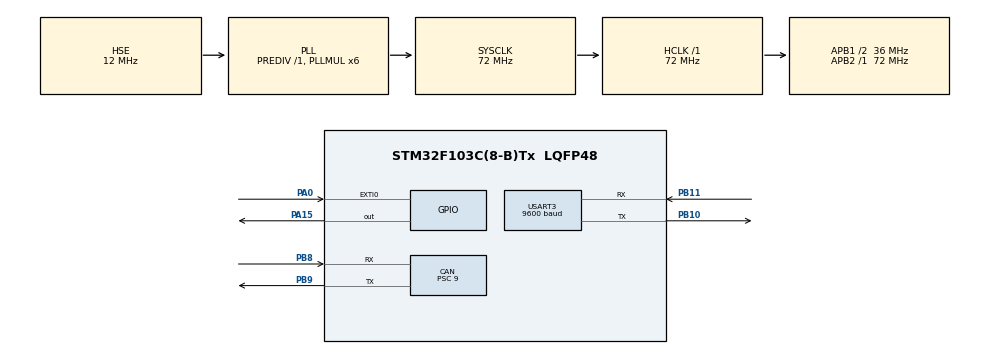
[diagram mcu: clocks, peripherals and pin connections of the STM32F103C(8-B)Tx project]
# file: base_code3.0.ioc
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CAN.BS1=CAN_BS1_2TQ
CAN.CalculateBaudRate=1000000
CAN.CalculateTimeBit=1000
CAN.CalculateTimeQuantum=250.0
CAN.Prescaler=9
Dma.Request0=USART3_RX
Dma.Request1=USART3_TX
Dma.USART3_RX.0.Direction=DMA_PERIPH_TO_MEMORY
Dma.USART3_RX.0.Instance=DMA1_Channel3
Dma.USART3_RX.0.MemDataAlignment=DMA_MDATAALIGN_BYTE
Dma.USART3_RX.0.MemInc=DMA_MINC_ENABLE
Dma.USART3_RX.0.Mode=DMA_NORMAL
Dma.USART3_RX.0.PeriphDataAlignment=DMA_PDATAALIGN_BYTE
Dma.USART3_RX.0.PeriphInc=DMA_PINC_DISABLE
Dma.USART3_RX.0.Priority=DMA_PRIORITY_HIGH
Dma.USART3_TX.1.Direction=DMA_MEMORY_TO_PERIPH
Dma.USART3_TX.1.Instance=DMA1_Channel2
Dma.USART3_TX.1.MemDataAlignment=DMA_MDATAALIGN_BYTE
Dma.USART3_TX.1.MemInc=DMA_MINC_ENABLE
Dma.USART3_TX.1.Mode=DMA_NORMAL
Dma.USART3_TX.1.PeriphDataAlignment=DMA_PDATAALIGN_BYTE
Dma.USART3_TX.1.PeriphInc=DMA_PINC_DISABLE
Dma.USART3_TX.1.Priority=DMA_PRIORITY_VERY_HIGH
Mcu.Family=STM32F1
Mcu.Name=STM32F103C(8-B)Tx
Mcu.Package=LQFP48
NVIC.CAN1_RX1_IRQn=true\:0\:0\:false\:false\:true\:true\:true\:true
NVIC.CAN1_SCE_IRQn=true\:0\:0\:false\:false\:true\:true\:true\:true
NVIC.DMA1_Channel2_IRQn=true\:0\:0\:false\:false\:true\:false\:true\:true
NVIC.DMA1_Channel3_IRQn=true\:0\:0\:false\:false\:true\:false\:true\:true
NVIC.EXTI0_IRQn=true\:0\:0\:false\:false\:true\:true\:true\:true
NVIC.PriorityGroup=NVIC_PRIORITYGROUP_4
NVIC.TIM3_IRQn=true\:0\:0\:false\:false\:true\:true\:true\:true
NVIC.TIM4_IRQn=true\:0\:0\:false\:false\:true\:true\:true\:true
NVIC.USART3_IRQn=true\:0\:0\:false\:false\:true\:false\:true\:true
NVIC.USB_HP_CAN1_TX_IRQn=true\:0\:0\:false\:false\:true\:true\:true\:true
NVIC.USB_LP_CAN1_RX0_IRQn=true\:0\:0\:false\:false\:true\:true\:true\:true
PA0-WKUP.GPIO_ModeDefaultEXTI=GPIO_MODE_IT_FALLING
PA0-WKUP.GPIO_PuPd=GPIO_PULLUP
PA0-WKUP.Signal=GPXTI0
PA13.Mode=Serial_Wire
PA13.Signal=SYS_JTMS-SWDIO
PA14.Mode=Serial_Wire
PA14.Signal=SYS_JTCK-SWCLK
PA15.GPIO_PuPd=GPIO_PULLUP
PA15.PinState=GPIO_PIN_SET
PA15.Signal=GPIO_Output
PB10.Mode=Asynchronous
PB10.Signal=USART3_TX
PB11.Mode=Asynchronous
PB11.Signal=USART3_RX
PB8.GPIO_PuPd=GPIO_PULLUP
PB8.Mode=CAN_Activate
PB8.Signal=CAN_RX
PB9.Mode=CAN_Activate
PB9.Signal=CAN_TX
PD0-OSC_IN.Mode=HSE-External-Oscillator
PD0-OSC_IN.Signal=RCC_OSC_IN
PD1-OSC_OUT.Mode=HSE-External-Oscillator
PD1-OSC_OUT.Signal=RCC_OSC_OUT
ProjectManager.HeapSize=0x200
ProjectManager.StackSize=0x400
ProjectManager.TargetToolchain=MDK-ARM V5.32
RCC.AHBFreq_Value=72000000
RCC.APB1CLKDivider=RCC_HCLK_DIV2
RCC.APB1Freq_Value=36000000
RCC.APB1TimFreq_Value=72000000
RCC.APB2Freq_Value=72000000
RCC.APB2TimFreq_Value=72000000
RCC.HCLKFreq_Value=72000000
RCC.HSE_VALUE=12000000
RCC.PLLMUL=RCC_PLL_MUL6
RCC.PLLSourceVirtual=RCC_PLLSOURCE_HSE
RCC.SYSCLKFreq_VALUE=72000000
RCC.SYSCLKSource=RCC_SYSCLKSOURCE_PLLCLK
RCC.USBFreq_Value=72000000
TIM3.AutoReloadPreload=TIM_AUTORELOAD_PRELOAD_ENABLE
TIM3.Period=99
TIM3.Prescaler=719
TIM4.AutoReloadPreload=TIM_AUTORELOAD_PRELOAD_ENABLE
TIM4.Period=999
TIM4.Prescaler=7199
USART3.BaudRate=9600
USART3.VirtualMode=VM_ASYNC
VP_TIM3_VS_ClockSourceINT.Mode=Internal
VP_TIM4_VS_ClockSourceINT.Mode=Internal
board=custom

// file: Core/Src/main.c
/* USER CODE BEGIN Header */
/**
  ******************************************************************************
  * @file           : main.c
  * @brief          : Main program body
  ******************************************************************************
  * @attention
  *
  * Copyright (c) 2025 STMicroelectronics.
  * All rights reserved.
  *
  * This software is licensed under terms that can be found in the LICENSE file
  * in the root directory of this software component.
  * If no LICENSE file comes with this software, it is provided AS-IS.
  *
  ******************************************************************************
  */
/* USER CODE END Header */
#include "main.h"
#include "can.h"
#include "dma.h"
#include "tim.h"
#include "usart.h"
#include "gpio.h"

/* USER CODE BEGIN Includes */

#include "stdio.h"
#include "arm_math.h"
#include "motor_control.h"
#include "control_task.h"
#include "uart_connect.h"

/* USER CODE END Includes */

/* USER CODE BEGIN PD */
const int16_t MAX_CURRENT=700;//输入电调的最大电流
#define UART_BUF_SIZE 32
#define UART_CMD_MAX_LEN 16

/* USER CODE END PD */

/* USER CODE BEGIN PV */

Motor_Status motor={0};
WorkMode work_mode=MODE_IDLE;

//目标位置
volatile int32_t target_pos=0;

//接收回调
uint8_t uart_rx_buf[UART_BUF_SIZE];
//命令处理
uint8_t uart_cmd_buf[UART_CMD_MAX_LEN];
//数据回传
uint8_t uart_buf[64];

volatile uint8_t uart_tx_busy=0;
volatile uint8_t control_task_flag=0;

/* USER CODE END PV */

void SystemClock_Config(void);

/* USER CODE BEGIN 0 */
void HAL_TIM_PeriodElapsedCallback(TIM_HandleTypeDef *htim)
{
    if(htim->Instance == TIM4) // 原TIM3的10ms任务改由TIM4触发
    {
        control_task_flag = 1; // 安全控制任务标志
    }

    if(htim->Instance == TIM3 && !uart_tx_busy) // 原TIM4的数据发送改由TIM3处理
    {
        uart_tx_busy = 1;
        HAL_CAN_DeactivateNotification(&hcan, CAN_IT_RX_FIFO0_MSG_PENDING);

		//显示转换 保证串口绘图中电流正常
		int32_t current_32bit = (int32_t)motor.torque_current;

		//搓！serialplot通信正常
		uart_buf[0]=0xAA;
		memcpy(&uart_buf[1],&motor.total_angle,4);
		memcpy(&uart_buf[5],&current_32bit,4);
		memcpy(&uart_buf[9],(const void*)&target_pos,4);
		memcpy(&uart_buf[13],&motor.left_limit,4);
		memcpy(&uart_buf[17],&motor.right_limit,4);

		/*发送*/
		HAL_UART_Transmit_IT(&huart3,uart_buf,21);

		HAL_CAN_ActivateNotification(&hcan,CAN_IT_RX_FIFO0_MSG_PENDING);
	}
}
/* USER CODE END 0 */

int main(void)
{

  /* MCU Configuration--------------------------------------------------------*/

  /* Reset of all peripherals, Initializes the Flash interface and the Systick. */
  HAL_Init();

  /* Configure the system clock */
  SystemClock_Config();

  /* Initialize all configured peripherals */
  MX_GPIO_Init();
  MX_DMA_Init();
  MX_CAN_Init();
  MX_USART3_UART_Init();
  MX_TIM3_Init();
  MX_TIM4_Init();
  /* USER CODE BEGIN 2 */

  CAN_Filter_Init(&hcan);
  PID_Init();

  HAL_TIM_Base_Start_IT(&htim3);
  HAL_TIM_Base_Start_IT(&htim4);

  Limit_Init();
  HAL_UARTEx_ReceiveToIdle_DMA(&huart3, uart_rx_buf, UART_BUF_SIZE);

  /* USER CODE END 2 */

  /* Infinite loop */
  /* USER CODE BEGIN WHILE */
  while (1)
  {
	  if(control_task_flag)
	  {
		  Motor_Control_Task();
		  control_task_flag=0;
	  }
    /* USER CODE END WHILE */

  }
}

void SystemClock_Config(void)
{
  RCC_OscInitTypeDef RCC_OscInitStruct = {0};
  RCC_ClkInitTypeDef RCC_ClkInitStruct = {0};

  /** Initializes the RCC Oscillators according to the specified parameters
  * in the RCC_OscInitTypeDef structure.
  */
  RCC_OscInitStruct.OscillatorType = RCC_OSCILLATORTYPE_HSE;
  RCC_OscInitStruct.HSEState = RCC_HSE_ON;
  RCC_OscInitStruct.HSEPredivValue = RCC_HSE_PREDIV_DIV1;
  RCC_OscInitStruct.HSIState = RCC_HSI_ON;
  RCC_OscInitStruct.PLL.PLLState = RCC_PLL_ON;
  RCC_OscInitStruct.PLL.PLLSource = RCC_PLLSOURCE_HSE;
  RCC_OscInitStruct.PLL.PLLMUL = RCC_PLL_MUL6;
  if (HAL_RCC_OscConfig(&RCC_OscInitStruct) != HAL_OK)
  {
    Error_Handler();
  }

  /** Initializes the CPU, AHB and APB buses clocks
  */
  RCC_ClkInitStruct.ClockType = RCC_CLOCKTYPE_HCLK|RCC_CLOCKTYPE_SYSCLK
                              |RCC_CLOCKTYPE_PCLK1|RCC_CLOCKTYPE_PCLK2;
  RCC_ClkInitStruct.SYSCLKSource = RCC_SYSCLKSOURCE_PLLCLK;
  RCC_ClkInitStruct.AHBCLKDivider = RCC_SYSCLK_DIV1;
  RCC_ClkInitStruct.APB1CLKDivider = RCC_HCLK_DIV2;
  RCC_ClkInitStruct.APB2CLKDivider = RCC_HCLK_DIV1;

  if (HAL_RCC_ClockConfig(&RCC_ClkInitStruct, FLASH_LATENCY_2) != HAL_OK)
  {
    Error_Handler();
  }
}

void Error_Handler(void)
{
  __disable_irq();
  while (1)
  {
  }
}
